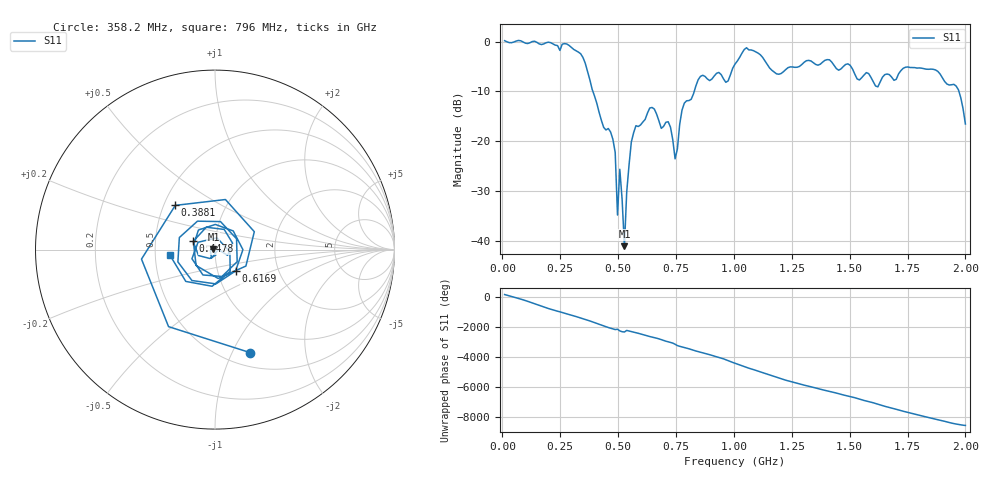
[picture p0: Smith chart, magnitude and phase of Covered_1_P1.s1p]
!Created with skrf (http://scikit-rf.org).
# Hz S RI R 50.0
!freq ReS11 ImS11
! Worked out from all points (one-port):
!   201 points, 10 MHz to 2 GHz, reference 50 ohm
!   lowest |S11| = -41.1 dB at 527.4 MHz (marker M1), VSWR 1.02, Z = 49.1 + j0.0805 ohm
!   |S11| at or under -10 dB: 391.2 MHz to 829 MHz (437.9 MHz wide, 71.8 % of centre); 1.972 GHz to end of sweep
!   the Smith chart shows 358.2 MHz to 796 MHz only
!   S11 on the Smith chart (normalised r, x): 358.2 MHz: 0.65, -1.17; 388.1 MHz: 0.57, +0.32; 447.8 MHz: 0.78, +0.07; 617 MHz: 1.22, -0.30; 796 MHz: 0.60, -0.04
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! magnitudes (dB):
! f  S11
! 10 MHz  0.2
! 258.8 MHz  -0.5
! 358.2 MHz  -4.4
! 388.1 MHz  -9.6
! 447.8 MHz  -17.8
! 487.6 MHz  -22.3
! 497.6 MHz  -34.8
! 507.5 MHz  -25.7
! 527.4 MHz  -41.1
! 537.4 MHz  -30.2
! 557.2 MHz  -20.2
! 617 MHz  -15.6
! 656.8 MHz  -13.6
! 726.4 MHz  -17.2
! 746.3 MHz  -23.6
! 756.2 MHz  -21.5
! 776.1 MHz  -13.8
! 796 MHz  -11.9
! 855.8 MHz  -7.0
! 965.2 MHz  -8.2
! 1.005 GHz  -4.5
! 1.055 GHz  -1.2
! 1.254 GHz  -5.1
! 1.502 GHz  -4.8
! 1.622 GHz  -9.1
! 1.751 GHz  -5.1
! 1.96 GHz  -8.9
! 2 GHz  -16.6
